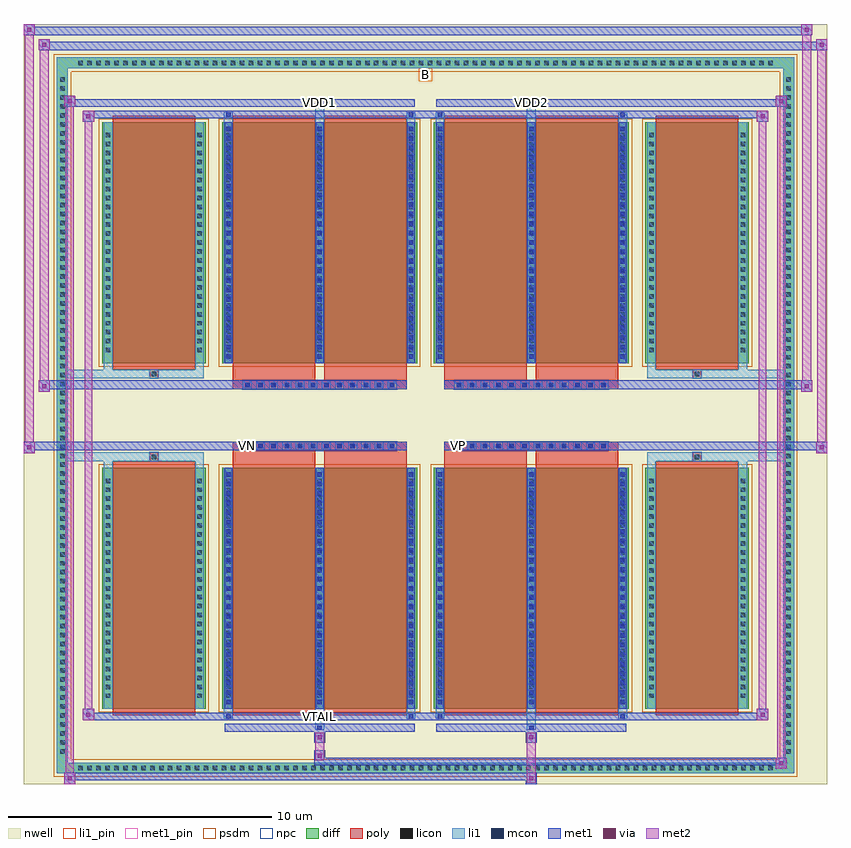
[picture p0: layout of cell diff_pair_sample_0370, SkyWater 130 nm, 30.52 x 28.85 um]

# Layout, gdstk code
import gdstk
lib = gdstk.Library(unit=1e-6, precision=5e-09)
def R(c, l, rs):  # rectangles x0, y0, x1, y1
    for r in rs: c.add(gdstk.rectangle(r[:2], r[2:], *l))
def A(c, l, x, y, w, h, nx, ny, dx, dy):  # array of equal rectangles
    R(c, l, [(x+i*dx, y+j*dy, x+i*dx+w, y+j*dy+h) for i in range(nx) for j in range(ny)])
def P(c, l, *ps):  # polygons
    for p in ps: c.add(gdstk.Polygon(p, *l))
nwell = (64, 20)
diff = (65, 20)
poly = (66, 20)
licon = (66, 44)
li1_pin = (67, 16)
li1 = (67, 20)
mcon = (67, 44)
met1_pin = (68, 16)
met1 = (68, 20)
via = (68, 44)
met2 = (69, 20)
psdm = (94, 20)
npc = (95, 20)

diff_pair_sample_0370 = lib.new_cell('diff_pair_sample_0370')
R(diff_pair_sample_0370, nwell, [(-15.26,-13.99,15.26,14.86), (-12.58,-12.18,-0.01,-0.8), (0.01,-12.18,12.58,-0.8), (-12.58,0.8,-0.01,12.18), (0.01,0.8,12.58,12.18)])
A(diff_pair_sample_0370, diff, -13.295, -13.59, 0.41, 0.41, 78, 2, 0.34, 26.77)
A(diff_pair_sample_0370, diff, -13.99, -12.955, 0.41, 0.41, 1, 76, 0, 0.34)
A(diff_pair_sample_0370, diff, 13.58, -12.955, 0.41, 0.41, 1, 76, 0, 0.34)
R(diff_pair_sample_0370, diff, [(-13.295,-13.59,13.295,-13.18), (-13.99,-12.955,-13.58,12.955), (13.58,-12.955,13.99,12.955), (-12.27,-11.135,-8.35,-1.985), (-7.71,-11.135,-0.32,-1.985), (0.32,-11.135,7.71,-1.985), (8.35,-11.135,12.27,-1.985), (-12.27,1.985,-8.35,11.135), (-7.71,1.985,-0.32,11.135), (0.32,1.985,7.71,11.135), (8.35,1.985,12.27,11.135), (-13.295,13.18,13.295,13.59)])
P(diff_pair_sample_0370, diff, [(13.99,13.59),(-13.99,13.59),(-13.99,-13.18),(-13.58,-13.18),(-13.58,13.18),(13.58,13.18),(13.58,-13.18),(-13.58,-13.18),(-13.99,-13.18),(-13.99,-13.59),(13.99,-13.59)])
A(diff_pair_sample_0370, poly, -6.93, -1.33, 0.33, 0.33, 12, 2, 0.5, 2.33)
A(diff_pair_sample_0370, poly, 1.1, -1.33, 0.33, 0.33, 12, 2, 0.5, 2.33)
R(diff_pair_sample_0370, poly, [(-11.88,-11.385,-8.74,-1.735), (-7.32,-11.385,-4.18,-1.735), (-3.85,-11.385,-0.71,-1.735), (0.71,-11.385,3.85,-1.735), (4.18,-11.385,7.32,-1.735), (8.74,-11.385,11.88,-1.735), (-10.475,-1.735,-10.145,-1.405), (-10.475,-1.735,-10.145,-1.405), (-7.32,-1.735,-4.18,-1.33), (-3.85,-1.735,-0.71,-1.33), (0.71,-1.735,3.85,-1.33), (4.18,-1.735,7.32,-1.33), (10.145,-1.735,10.475,-1.405), (10.145,-1.735,10.475,-1.405), (-7.32,-1.33,-0.71,-1), (0.71,-1.33,7.32,-1), (-7.32,1,-0.71,1.33), (0.71,1,7.32,1.33), (-7.32,1.33,-4.18,1.735), (-3.85,1.33,-0.71,1.735), (0.71,1.33,3.85,1.735), (4.18,1.33,7.32,1.735), (-10.475,1.405,-10.145,1.735), (-10.475,1.405,-10.145,1.735), (10.145,1.405,10.475,1.735), (10.145,1.405,10.475,1.735), (-11.88,1.735,-8.74,11.385), (-7.32,1.735,-4.18,11.385), (-3.85,1.735,-0.71,11.385), (0.71,1.735,3.85,11.385), (4.18,1.735,7.32,11.385), (8.74,1.735,11.88,11.385)])
A(diff_pair_sample_0370, licon, -13.175, -13.47, 0.17, 0.17, 78, 2, 0.34, 26.77)
A(diff_pair_sample_0370, licon, -13.87, -12.835, 0.17, 0.17, 1, 76, 0, 0.34)
A(diff_pair_sample_0370, licon, 13.7, -12.835, 0.17, 0.17, 1, 76, 0, 0.34)
A(diff_pair_sample_0370, licon, -12.13, -10.725, 0.17, 0.17, 1, 25, 0, 0.34)
A(diff_pair_sample_0370, licon, -8.66, -10.725, 0.17, 0.17, 1, 25, 0, 0.34)
A(diff_pair_sample_0370, licon, -7.57, -10.725, 0.17, 0.17, 3, 25, 3.47, 0.34)
A(diff_pair_sample_0370, licon, 0.46, -10.725, 0.17, 0.17, 3, 25, 3.47, 0.34)
A(diff_pair_sample_0370, licon, 8.49, -10.725, 0.17, 0.17, 1, 25, 0, 0.34)
A(diff_pair_sample_0370, licon, 11.96, -10.725, 0.17, 0.17, 1, 25, 0, 0.34)
A(diff_pair_sample_0370, licon, -6.85, -1.25, 0.17, 0.17, 12, 2, 0.5, 2.33)
A(diff_pair_sample_0370, licon, 1.18, -1.25, 0.17, 0.17, 12, 2, 0.5, 2.33)
A(diff_pair_sample_0370, licon, -12.13, 2.395, 0.17, 0.17, 1, 25, 0, 0.34)
A(diff_pair_sample_0370, licon, -8.66, 2.395, 0.17, 0.17, 1, 25, 0, 0.34)
A(diff_pair_sample_0370, licon, -7.57, 2.395, 0.17, 0.17, 3, 25, 3.47, 0.34)
A(diff_pair_sample_0370, licon, 0.46, 2.395, 0.17, 0.17, 3, 25, 3.47, 0.34)
A(diff_pair_sample_0370, licon, 8.49, 2.395, 0.17, 0.17, 1, 25, 0, 0.34)
A(diff_pair_sample_0370, licon, 11.96, 2.395, 0.17, 0.17, 1, 25, 0, 0.34)
R(diff_pair_sample_0370, licon, [(-10.395,-1.655,-10.225,-1.485), (10.225,-1.655,10.395,-1.485), (-10.395,1.485,-10.225,1.655), (10.225,1.485,10.395,1.655)])
R(diff_pair_sample_0370, li1_pin, [(-0.25,12.68,0.25,13.18)])
A(diff_pair_sample_0370, li1, -13.255, -13.55, 0.33, 0.33, 78, 2, 0.34, 26.77)
A(diff_pair_sample_0370, li1, -13.95, -12.915, 0.33, 0.33, 1, 76, 0, 0.34)
A(diff_pair_sample_0370, li1, 13.62, -12.915, 0.33, 0.33, 1, 76, 0, 0.34)
A(diff_pair_sample_0370, li1, -7.65, -11.135, 0.33, 9.15, 3, 2, 3.47, 13.12)
A(diff_pair_sample_0370, li1, 0.38, -11.135, 0.33, 9.15, 3, 2, 3.47, 13.12)
A(diff_pair_sample_0370, li1, -7.57, -10.965, 0.17, 0.17, 3, 25, 3.47, 0.36)
A(diff_pair_sample_0370, li1, -7.57, -10.965, 0.17, 8.81, 3, 2, 3.47, 13.12)
A(diff_pair_sample_0370, li1, 0.46, -10.965, 0.17, 0.17, 3, 25, 3.47, 0.36)
A(diff_pair_sample_0370, li1, 0.46, -10.965, 0.17, 8.81, 3, 2, 3.47, 13.12)
A(diff_pair_sample_0370, li1, -12.21, -10.805, 0.33, 0.33, 1, 25, 0, 0.34)
A(diff_pair_sample_0370, li1, -8.74, -10.805, 0.33, 0.33, 1, 25, 0, 0.34)
A(diff_pair_sample_0370, li1, -7.65, -10.805, 0.33, 0.33, 3, 25, 3.47, 0.34)
A(diff_pair_sample_0370, li1, 0.38, -10.805, 0.33, 0.33, 3, 25, 3.47, 0.34)
A(diff_pair_sample_0370, li1, 8.41, -10.805, 0.33, 0.33, 1, 25, 0, 0.34)
A(diff_pair_sample_0370, li1, 11.88, -10.805, 0.33, 0.33, 1, 25, 0, 0.34)
A(diff_pair_sample_0370, li1, -6.93, -1.33, 0.33, 0.33, 12, 2, 0.5, 2.33)
A(diff_pair_sample_0370, li1, 1.1, -1.33, 0.33, 0.33, 12, 2, 0.5, 2.33)
A(diff_pair_sample_0370, li1, -7.57, 2.155, 0.17, 0.17, 3, 25, 3.47, 0.36)
A(diff_pair_sample_0370, li1, 0.46, 2.155, 0.17, 0.17, 3, 25, 3.47, 0.36)
A(diff_pair_sample_0370, li1, -12.21, 2.315, 0.33, 0.33, 1, 25, 0, 0.34)
A(diff_pair_sample_0370, li1, -8.74, 2.315, 0.33, 0.33, 1, 25, 0, 0.34)
A(diff_pair_sample_0370, li1, -7.65, 2.315, 0.33, 0.33, 3, 25, 3.47, 0.34)
A(diff_pair_sample_0370, li1, 0.38, 2.315, 0.33, 0.33, 3, 25, 3.47, 0.34)
A(diff_pair_sample_0370, li1, 8.41, 2.315, 0.33, 0.33, 1, 25, 0, 0.34)
A(diff_pair_sample_0370, li1, 11.88, 2.315, 0.33, 0.33, 1, 25, 0, 0.34)
R(diff_pair_sample_0370, li1, [(-13.99,-13.59,-13.58,-13.18), (-13.99,-13.59,-13.58,-13.18), (-13.58,-13.59,13.58,-13.18), (13.58,-13.59,13.99,-13.18), (13.58,-13.59,13.99,-13.18), (-13.99,-13.18,-13.58,13.18), (13.58,-13.18,13.99,13.18), (-4.18,-11.94,-3.85,-11.135), (-4.1,-11.94,-3.93,-11.77), (3.85,-11.94,4.18,-11.135), (3.93,-11.94,4.1,-11.77), (-7.65,-11.51,-7.32,-11.135), (-7.57,-11.51,-7.4,-11.34), (-0.71,-11.51,-0.38,-11.135), (-0.63,-11.51,-0.46,-11.34), (0.38,-11.51,0.71,-11.135), (0.46,-11.51,0.63,-11.34), (7.32,-11.51,7.65,-11.135), (7.4,-11.51,7.57,-11.34), (-12.21,-11.135,-11.88,-1.985), (-8.74,-11.135,-8.41,-1.985), (8.41,-11.135,8.74,-1.985), (11.88,-11.135,12.21,-1.985), (-12.21,-1.985,-11.88,-1.405), (-8.74,-1.985,-8.41,-1.405), (8.41,-1.985,8.74,-1.405), (11.88,-1.985,12.21,-1.405), (-13.99,-1.735,-10.475,-1.405), (-12.21,-1.735,-10.475,-1.405), (-10.475,-1.735,-10.145,-1.405), (-10.145,-1.735,-8.41,-1.405), (8.41,-1.735,10.145,-1.405), (10.145,-1.735,10.475,-1.405), (10.145,-1.735,13.99,-1.405), (10.475,-1.735,12.21,-1.405), (-13.99,1.405,-10.475,1.735), (-12.21,1.405,-10.475,1.735), (-12.21,1.405,-11.88,1.985), (-10.475,1.405,-10.145,1.735), (-10.145,1.405,-8.41,1.735), (-8.74,1.405,-8.41,1.985), (8.41,1.405,10.145,1.735), (8.41,1.405,8.74,1.985), (10.145,1.405,10.475,1.735), (10.145,1.405,13.99,1.735), (10.475,1.405,12.21,1.735), (11.88,1.405,12.21,1.985), (-12.21,1.985,-11.88,11.135), (-8.74,1.985,-8.41,11.135), (8.41,1.985,8.74,11.135), (11.88,1.985,12.21,11.135), (-7.65,11.135,-7.32,11.51), (-4.18,11.135,-3.85,11.94), (-0.71,11.135,-0.38,11.51), (0.38,11.135,0.71,11.51), (3.85,11.135,4.18,11.94), (7.32,11.135,7.65,11.51), (-7.57,11.34,-7.4,11.51), (-0.63,11.34,-0.46,11.51), (0.46,11.34,0.63,11.51), (7.4,11.34,7.57,11.51), (-4.1,11.77,-3.93,11.94), (3.93,11.77,4.1,11.94), (-13.99,13.18,-13.58,13.59), (-13.99,13.18,-13.58,13.59), (-13.58,13.18,13.58,13.59), (13.58,13.18,13.99,13.59), (13.58,13.18,13.99,13.59)])
A(diff_pair_sample_0370, mcon, -7.57, -10.965, 0.17, 0.17, 3, 25, 3.47, 0.36)
A(diff_pair_sample_0370, mcon, 0.46, -10.965, 0.17, 0.17, 3, 25, 3.47, 0.36)
A(diff_pair_sample_0370, mcon, -6.85, -1.25, 0.17, 0.17, 12, 2, 0.5, 2.33)
A(diff_pair_sample_0370, mcon, 1.18, -1.25, 0.17, 0.17, 12, 2, 0.5, 2.33)
A(diff_pair_sample_0370, mcon, -7.57, 2.155, 0.17, 0.17, 3, 25, 3.47, 0.36)
A(diff_pair_sample_0370, mcon, 0.46, 2.155, 0.17, 0.17, 3, 25, 3.47, 0.36)
R(diff_pair_sample_0370, mcon, [(-4.1,-11.94,-3.93,-11.77), (3.93,-11.94,4.1,-11.77), (-7.57,-11.51,-7.4,-11.34), (-0.63,-11.51,-0.46,-11.34), (0.46,-11.51,0.63,-11.34), (7.4,-11.51,7.57,-11.34), (-7.57,11.34,-7.4,11.51), (-0.63,11.34,-0.46,11.51), (0.46,11.34,0.63,11.51), (7.4,11.34,7.57,11.51), (-4.1,11.77,-3.93,11.94), (3.93,11.77,4.1,11.94)])
R(diff_pair_sample_0370, met1_pin, [(-4.15,-11.55,-3.88,-11.28), (-6.9,-1.29,-6.63,-1.02), (1.13,-1.29,1.4,-1.02), (-4.15,11.73,-3.88,12), (3.88,11.73,4.15,12)])
A(diff_pair_sample_0370, met1, -7.63, -11.135, 0.29, 9.15, 3, 2, 3.47, 13.12)
A(diff_pair_sample_0370, met1, 0.4, -11.135, 0.29, 9.15, 3, 2, 3.47, 13.12)
A(diff_pair_sample_0370, met1, -7.63, -11.025, 0.29, 0.29, 3, 25, 3.47, 0.36)
A(diff_pair_sample_0370, met1, 0.4, -11.025, 0.29, 0.29, 3, 25, 3.47, 0.36)
A(diff_pair_sample_0370, met1, -6.91, -1.31, 0.29, 0.29, 12, 2, 0.5, 2.33)
A(diff_pair_sample_0370, met1, 1.12, -1.31, 0.29, 0.29, 12, 2, 0.5, 2.33)
A(diff_pair_sample_0370, met1, -7.63, 2.095, 0.29, 0.29, 3, 25, 3.47, 0.36)
A(diff_pair_sample_0370, met1, 0.4, 2.095, 0.29, 0.29, 3, 25, 3.47, 0.36)
R(diff_pair_sample_0370, met1, [(-13.72,-13.99,-13.29,-13.56), (3.8,-13.99,4.23,-13.56), (-13.72,-13.85,4.23,-13.56), (13.29,-13.42,13.72,-12.99), (-4.23,-13.28,13.72,-12.99), (-4.23,-13.14,-3.8,-12.71), (-4.23,-12.43,-3.8,-12), (3.8,-12.43,4.23,-12), (-7.63,-12,-0.4,-11.71), (-4.16,-12,-3.87,-11.71), (0.4,-12,7.63,-11.71), (3.87,-12,4.16,-11.71), (-13.01,-11.57,-12.58,-11.14), (-13.01,-11.57,-7.63,-11.28), (-7.63,-11.57,-7.34,-11.28), (-7.63,-11.57,-0.4,-11.28), (-0.69,-11.57,-0.4,-11.28), (-0.4,-11.57,0.4,-11.28), (0.4,-11.57,0.69,-11.28), (0.4,-11.57,7.63,-11.28), (7.34,-11.57,7.63,-11.28), (7.63,-11.57,13.01,-11.28), (12.58,-11.57,13.01,-11.14), (-15.26,-1.43,-14.83,-1), (14.83,-1.43,15.26,-1), (-15.26,-1.33,-0.71,-1), (-7.32,-1.33,-0.71,-1), (0.71,-1.33,7.32,-1), (0.71,-1.33,15.26,-1), (-14.69,0.9,-14.26,1.33), (14.26,0.9,14.69,1.33), (-14.69,1,-7.32,1.33), (-7.32,1,-0.71,1.33), (0.71,1,7.32,1.33), (7.32,1,14.69,1.33), (-13.01,11.14,-12.58,11.57), (12.58,11.14,13.01,11.57), (-13.01,11.28,-7.63,11.57), (-7.63,11.28,-7.34,11.57), (-7.63,11.28,-0.4,11.57), (-0.69,11.28,-0.4,11.57), (-0.4,11.28,0.4,11.57), (0.4,11.28,0.69,11.57), (0.4,11.28,7.63,11.57), (7.34,11.28,7.63,11.57), (7.63,11.28,13.01,11.57), (-13.72,11.71,-13.29,12.14), (-13.72,11.71,-7.63,12), (-7.63,11.71,-0.4,12), (-4.16,11.71,-3.87,12), (0.4,11.71,7.63,12), (3.87,11.71,4.16,12), (7.63,11.71,13.72,12), (13.29,11.71,13.72,12.14), (-14.69,13.86,-14.26,14.29), (-14.69,13.86,-12.58,14.19), (-12.58,13.86,12.58,14.19), (12.58,13.86,15.26,14.19), (14.83,13.86,15.26,14.29), (-15.26,14.43,-14.83,14.86), (-15.26,14.43,-12.58,14.76), (-12.58,14.43,12.58,14.76), (12.58,14.43,14.69,14.76), (14.26,14.43,14.69,14.86)])
R(diff_pair_sample_0370, via, [(-13.58,-13.85,-13.43,-13.7), (3.94,-13.85,4.09,-13.7), (13.43,-13.28,13.58,-13.13), (-4.09,-13,-3.94,-12.85), (-4.09,-12.29,-3.94,-12.14), (3.94,-12.29,4.09,-12.14), (-12.87,-11.43,-12.72,-11.28), (12.72,-11.43,12.87,-11.28), (-15.12,-1.29,-14.97,-1.14), (14.97,-1.29,15.12,-1.14), (-14.55,1.04,-14.4,1.19), (14.4,1.04,14.55,1.19), (-12.87,11.28,-12.72,11.43), (12.72,11.28,12.87,11.43), (-13.58,11.85,-13.43,12), (13.43,11.85,13.58,12), (-14.55,14,-14.4,14.15), (14.97,14,15.12,14.15), (-15.12,14.57,-14.97,14.72), (14.4,14.57,14.55,14.72)])
R(diff_pair_sample_0370, met2, [(-13.72,-13.99,-13.29,-13.56), (-13.65,-13.99,-13.36,12.14), (-13.36,-13.99,-13.29,-13.56), (-13.67,-13.94,-13.34,-13.61), (3.85,-13.94,4.18,-13.61), (3.85,-13.61,4.18,-12.38), (13.29,-13.42,13.72,-12.99), (13.36,-13.42,13.65,12.14), (13.65,-13.42,13.72,-12.99), (13.34,-13.37,13.67,-13.04), (-4.18,-13.09,-3.85,-12.76), (-4.18,-12.76,-3.85,-12.38), (-4.18,-12.38,-3.85,-12.05), (3.85,-12.38,4.18,-12.05), (-13.01,-11.57,-12.58,-11.14), (-12.94,-11.57,-12.65,11.57), (-12.65,-11.57,-12.58,-11.14), (12.58,-11.57,13.01,-11.14), (12.65,-11.57,12.94,11.57), (12.94,-11.57,13.01,-11.14), (-12.96,-11.52,-12.63,-11.19), (12.63,-11.52,12.96,-11.19), (-15.26,-1.43,-14.83,-1), (-15.21,-1.43,-14.88,14.86), (-14.88,-1.43,-14.83,-1), (14.83,-1.43,15.26,-1), (14.88,-1.43,15.21,14.29), (15.21,-1.43,15.26,-1), (-15.21,-1.38,-14.88,-1.05), (14.88,-1.38,15.21,-1.05), (-14.69,0.9,-14.26,1.33), (-14.64,0.9,-14.31,14.29), (-14.31,0.9,-14.26,1.33), (14.26,0.9,14.69,1.33), (14.31,0.9,14.64,14.86), (14.64,0.9,14.69,1.33), (-14.64,0.95,-14.31,1.28), (14.31,0.95,14.64,1.28), (-13.01,11.14,-12.58,11.57), (-12.65,11.14,-12.58,11.57), (12.58,11.14,13.01,11.57), (12.94,11.14,13.01,11.57), (-12.96,11.19,-12.63,11.52), (12.63,11.19,12.96,11.52), (-13.72,11.71,-13.29,12.14), (-13.36,11.71,-13.29,12.14), (13.29,11.71,13.72,12.14), (13.65,11.71,13.72,12.14), (-13.67,11.76,-13.34,12.09), (13.34,11.76,13.67,12.09), (-14.69,13.86,-14.26,14.29), (-14.31,13.86,-14.26,14.29), (14.83,13.86,15.26,14.29), (15.21,13.86,15.26,14.29), (-14.64,13.91,-14.31,14.24), (14.88,13.91,15.21,14.24), (-15.26,14.43,-14.83,14.86), (-14.88,14.43,-14.83,14.86), (14.26,14.43,14.69,14.86), (14.64,14.43,14.69,14.86), (-15.21,14.48,-14.88,14.81), (14.31,14.48,14.64,14.81)])
R(diff_pair_sample_0370, psdm, [(-12.4,-11.265,-8.22,-1.855), (-7.84,-11.265,-0.19,-1.855), (0.19,-11.265,7.84,-1.855), (8.22,-11.265,12.4,-1.855), (-12.4,1.855,-8.22,11.265), (-7.84,1.855,-0.19,11.265), (0.19,1.855,7.84,11.265), (8.22,1.855,12.4,11.265)])
P(diff_pair_sample_0370, psdm, [(14.12,13.72),(-14.12,13.72),(-14.12,-13.05),(-13.45,-13.05),(-13.45,13.05),(13.45,13.05),(13.45,-13.05),(-13.45,-13.05),(-14.12,-13.05),(-14.12,-13.72),(14.12,-13.72)])
A(diff_pair_sample_0370, npc, -6.95, -1.35, 0.37, 0.37, 12, 2, 0.5, 2.33)
A(diff_pair_sample_0370, npc, 1.08, -1.35, 0.37, 0.37, 12, 2, 0.5, 2.33)
R(diff_pair_sample_0370, npc, [(-10.495,-1.755,-10.125,-1.385), (10.125,-1.755,10.495,-1.385), (-6.95,-1.35,-6.08,-0.98), (-6.95,-1.35,-6.08,-0.98), (-6.45,-1.35,-5.58,-0.98), (-6.45,-1.35,-5.58,-0.98), (-5.95,-1.35,-5.08,-0.98), (-5.95,-1.35,-5.08,-0.98), (-5.45,-1.35,-4.58,-0.98), (-5.45,-1.35,-4.58,-0.98), (-4.95,-1.35,-4.08,-0.98), (-4.95,-1.35,-4.08,-0.98), (-4.45,-1.35,-3.58,-0.98), (-4.45,-1.35,-3.58,-0.98), (-3.95,-1.35,-3.08,-0.98), (-3.95,-1.35,-3.08,-0.98), (-3.45,-1.35,-2.58,-0.98), (-3.45,-1.35,-2.58,-0.98), (-2.95,-1.35,-2.08,-0.98), (-2.95,-1.35,-2.08,-0.98), (-2.45,-1.35,-1.58,-0.98), (-2.45,-1.35,-1.58,-0.98), (-1.95,-1.35,-1.08,-0.98), (-1.95,-1.35,-1.08,-0.98), (1.08,-1.35,1.95,-0.98), (1.08,-1.35,1.95,-0.98), (1.58,-1.35,2.45,-0.98), (1.58,-1.35,2.45,-0.98), (2.08,-1.35,2.95,-0.98), (2.08,-1.35,2.95,-0.98), (2.58,-1.35,3.45,-0.98), (2.58,-1.35,3.45,-0.98), (3.08,-1.35,3.95,-0.98), (3.08,-1.35,3.95,-0.98), (3.58,-1.35,4.45,-0.98), (3.58,-1.35,4.45,-0.98), (4.08,-1.35,4.95,-0.98), (4.08,-1.35,4.95,-0.98), (4.58,-1.35,5.45,-0.98), (4.58,-1.35,5.45,-0.98), (5.08,-1.35,5.95,-0.98), (5.08,-1.35,5.95,-0.98), (5.58,-1.35,6.45,-0.98), (5.58,-1.35,6.45,-0.98), (6.08,-1.35,6.95,-0.98), (6.08,-1.35,6.95,-0.98), (-6.95,0.98,-6.08,1.35), (-6.95,0.98,-6.08,1.35), (-6.45,0.98,-5.58,1.35), (-6.45,0.98,-5.58,1.35), (-5.95,0.98,-5.08,1.35), (-5.95,0.98,-5.08,1.35), (-5.45,0.98,-4.58,1.35), (-5.45,0.98,-4.58,1.35), (-4.95,0.98,-4.08,1.35), (-4.95,0.98,-4.08,1.35), (-4.45,0.98,-3.58,1.35), (-4.45,0.98,-3.58,1.35), (-3.95,0.98,-3.08,1.35), (-3.95,0.98,-3.08,1.35), (-3.45,0.98,-2.58,1.35), (-3.45,0.98,-2.58,1.35), (-2.95,0.98,-2.08,1.35), (-2.95,0.98,-2.08,1.35), (-2.45,0.98,-1.58,1.35), (-2.45,0.98,-1.58,1.35), (-1.95,0.98,-1.08,1.35), (-1.95,0.98,-1.08,1.35), (1.08,0.98,1.95,1.35), (1.08,0.98,1.95,1.35), (1.58,0.98,2.45,1.35), (1.58,0.98,2.45,1.35), (2.08,0.98,2.95,1.35), (2.08,0.98,2.95,1.35), (2.58,0.98,3.45,1.35), (2.58,0.98,3.45,1.35), (3.08,0.98,3.95,1.35), (3.08,0.98,3.95,1.35), (3.58,0.98,4.45,1.35), (3.58,0.98,4.45,1.35), (4.08,0.98,4.95,1.35), (4.08,0.98,4.95,1.35), (4.58,0.98,5.45,1.35), (4.58,0.98,5.45,1.35), (5.08,0.98,5.95,1.35), (5.08,0.98,5.95,1.35), (5.58,0.98,6.45,1.35), (5.58,0.98,6.45,1.35), (6.08,0.98,6.95,1.35), (6.08,0.98,6.95,1.35), (-10.495,1.385,-10.125,1.755), (10.125,1.385,10.495,1.755)])
diff_pair_sample_0370.add(gdstk.Label('VTAIL', (-4.015,-11.415), layer=68, texttype=5))
diff_pair_sample_0370.add(gdstk.Label('VN', (-6.765,-1.155), layer=68, texttype=5))
diff_pair_sample_0370.add(gdstk.Label('VP', (1.265,-1.155), layer=68, texttype=5))
diff_pair_sample_0370.add(gdstk.Label('B', (0,12.93), layer=67, texttype=5))
diff_pair_sample_0370.add(gdstk.Label('VDD2', (4.015,11.865), layer=68, texttype=5))
diff_pair_sample_0370.add(gdstk.Label('VDD1', (-4.015,11.865), layer=68, texttype=5))

lib.write_gds('diff_pair_sample_0370.gds')
